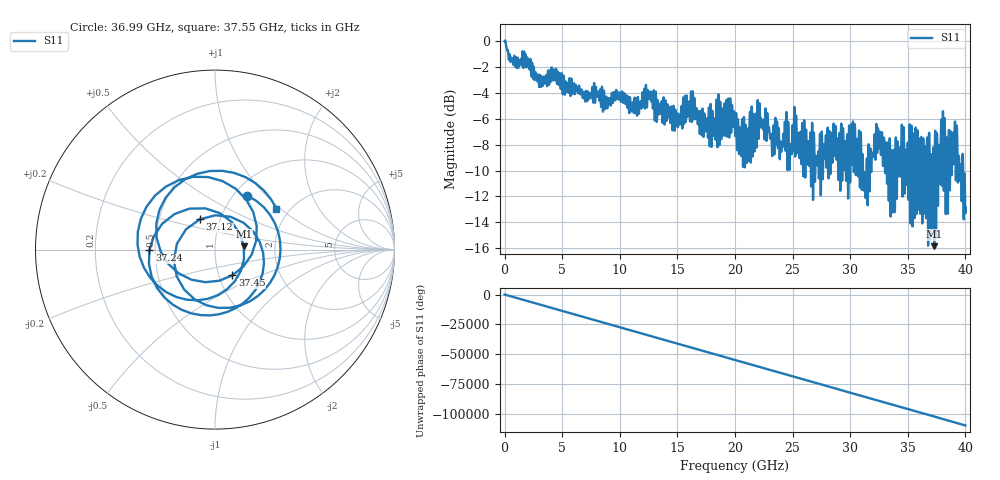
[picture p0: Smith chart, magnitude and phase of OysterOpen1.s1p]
# MHz MA S R 50.0
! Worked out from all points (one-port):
!   8000 points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, 5 MHz to 40 GHz, reference 50 ohm
!   lowest |S11| = -15.8 dB at 37.29 GHz (marker M1), VSWR 1.38, Z = 69.1 + j2.5 ohm
!   |S11| at or under -10 dB: 31.11 GHz to 31.41 GHz (298.9 MHz wide, 0.956 % of centre); 33.65143 GHz to 33.74807 GHz (96.64 MHz wide, 0.287 % of centre); 39.80868 GHz to end of sweep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
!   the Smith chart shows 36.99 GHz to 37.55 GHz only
!   S11 on the Smith chart (normalised r, x): 36.99 GHz: 1.15, +0.79; 37.12 GHz: 0.80, +0.28; 37.24 GHz: 0.46, -0.00; 37.45 GHz: 1.16, -0.34; 37.55 GHz: 1.72, +0.94
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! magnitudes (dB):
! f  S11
! 5 MHz  0.0
! 5.005 GHz  -3.2
! 10.01 GHz  -4.0
! 15.01 GHz  -6.2
! 16.34 GHz  -3.9
! 17.46 GHz  -6.5
! 20 GHz  -7.2
! 21.03 GHz  -9.2
! 22.12 GHz  -4.8
! 24.04 GHz  -8.5
! 25 GHz  -6.5
! 27.11 GHz  -9.3
! 28.55 GHz  -6.4
! 30 GHz  -10.4
! 30.25 GHz  -6.2
! 31.34 GHz  -12.1
! 32.42 GHz  -6.8
! 33.7 GHz  -13.2
! 34.3 GHz  -8.2
! 35.01 GHz  -7.9
! 36.99 GHz  -9.1
! 37.12 GHz  -14.5
! 37.24 GHz  -8.7
! 37.29 GHz  -15.8
! 37.45 GHz  -15.2
! 37.55 GHz  -7.7
! 39.09 GHz  -6.3
! 40 GHz  -13.3
